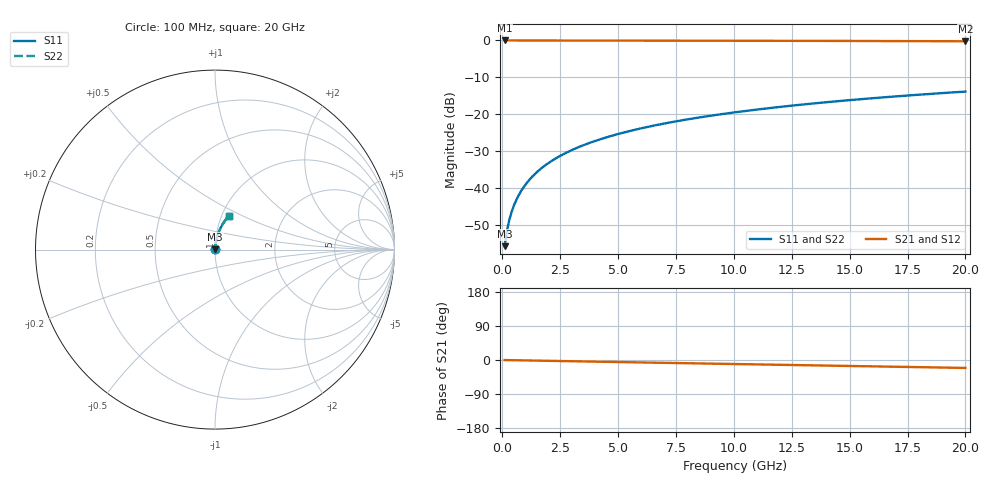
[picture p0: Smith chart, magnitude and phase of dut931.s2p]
! Touchstone file exported from HFSS 2026.1.0
!  File:  C:/ffzhzh/LocalFiles/Ansys_Project_Files/temp_train_TMRDL_931_1783158340_22436.aedt
!  Generated:  05:46:59 PM Jul  4, 2026
!  Design:  TMRDL
!  Project:  temp_train_TMRDL_931_1783158340_22436
! Variables:
!  h_bsmrdl = 2um
!  h_ox = 20um
!  h_rdl = 5um
!  h_sub = 80um
!  h_tmrdl = 3.82um
!  h_tsv = 80um
!  h_via = 3um
!  l_bsmrdl = 300um
!  l_sub = 666.41um
!  l_tmrdl = 266.41um
!  m_sub = 200um
!  pitch = 56.48um
!  r_tsv = 6um
!  s_tmrdl = 10um
!  w_bsmrdl = 18um
!  w_sub = 500um
!  w_tmrdl = 27.86um
!  x_tsv_center1 = 280.34um
!  x_tsv_center2 = 598.34um
!  x_tsv_center3 = 892.61um
!  x_tsv_center4 = 1210.61um
!  x_tsv_center5 = 1504.88um
!  x_tsv_center6 = 1822.88um
# GHz S MA R 50.000000
! Terminal data exported
! Port[1] = TM_RDL1_1_T1
! Port[2] = TM_RDL1_1_T2
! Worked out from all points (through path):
!   200 points, 100 MHz to 20 GHz, reference 50 ohm
!   highest |S21| = -0.01 dB at 100 MHz (marker M1); lowest = -0.2 dB at 20 GHz (marker M2)
!   group delay of S21, straight-line fit = 2.9 ps
!   lowest |S11| = -55.7 dB at 100 MHz (marker M3), VSWR 1.00, Z = 50.1 + j0.12 ohm
!   |S11| at or under -10 dB: start of sweep to end of sweep
!   |S22| runs from -55.7 to -13.9 dB; largest |S21 - S12| = 5.4e-15
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0.1  0.00164 46.9  0.9989 -0.1  0.9989 -0.1  0.00164 46.9
! Gamma 0 0 0 0
! Port Impedance 50 0 50 0
0.2  0.002638 63.0  0.9988 -0.2  0.9988 -0.2  0.002638 62.9
0.3  0.00369 69.7  0.9987 -0.3  0.9987 -0.3  0.003689 69.7
0.4  0.004745 73.4  0.9987 -0.4  0.9987 -0.4  0.004743 73.4
0.5  0.005801 75.9  0.9986 -0.6  0.9986 -0.6  0.0058 75.9
0.7  0.007928 79.0  0.9986 -0.8  0.9986 -0.8  0.007926 79.0
0.8  0.008997 80.0  0.9985 -0.9  0.9985 -0.9  0.008995 80.0
1  0.01115 81.3  0.9985 -1.1  0.9985 -1.1  0.01114 81.4
1.2  0.0133 82.2  0.9984 -1.3  0.9984 -1.3  0.0133 82.2
1.4  0.01546 82.8  0.9984 -1.5  0.9984 -1.5  0.01546 82.8
1.7  0.01871 83.3  0.9983 -1.8  0.9983 -1.8  0.01871 83.3
2  0.02196 83.6  0.9981 -2.2  0.9981 -2.2  0.02196 83.6
2.7  0.02952 83.6  0.9978 -2.9  0.9978 -2.9  0.02952 83.6
3.5  0.03813 83.2  0.9973 -3.8  0.9973 -3.8  0.03813 83.3
4.2  0.04561 82.7  0.9968 -4.5  0.9968 -4.5  0.04561 82.8
5  0.0541 82.1  0.9962 -5.4  0.9962 -5.4  0.0541 82.1
6.8  0.07298 80.4  0.9944 -7.3  0.9944 -7.3  0.07297 80.5
8.3  0.08849 79.0  0.9928 -8.9  0.9928 -8.9  0.08849 79.0
10.1  0.1069 77.2  0.9906 -10.8  0.9906 -10.8  0.1069 77.3
13.4  0.1399 74.0  0.9859 -14.2  0.9859 -14.2  0.1399 74.1
16.7  0.1719 70.8  0.9803 -17.6  0.9803 -17.6  0.1719 70.9
20  0.2029 67.6  0.974 -20.9  0.974 -20.9  0.2029 67.7
